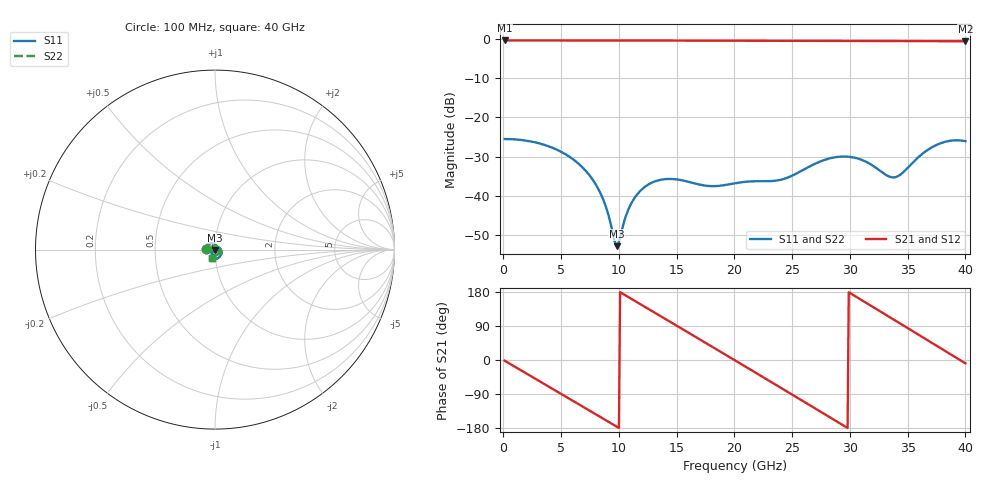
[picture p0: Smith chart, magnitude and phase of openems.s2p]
! thru_s4_L4: 2×thru, L4, 8 mm
! stackup: 4-layer 1.6 mm FR-4
! ports: 1, 2
! openEMS 0.37.0, staircase, fine mesh (dfine 0.0175 mm), 571644 cells
# Hz S RI R 50
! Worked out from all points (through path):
!   400 points, 100 MHz to 40 GHz, reference 50 ohm
!   highest |S21| = -0.48 dB at 100 MHz (marker M1); lowest = -0.7 dB at 40 GHz (marker M2)
!   group delay of S21, straight-line fit = 50.6 ps
!   lowest |S11| = -52.8 dB at 9.8 GHz (marker M3), VSWR 1.00, Z = 50.1 - j0.207 ohm
!   |S11| at or under -10 dB: start of sweep to end of sweep
!   |S22| runs from -52.8 to -25.5 dB; largest |S21 - S12| = 0
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1e8  -0.0528 0.00133  0.9463 -0.0296  0.9463 -0.0296  -0.0528 0.00133
1.8e9  -0.0455 0.0226  0.8007 -0.5048  0.8007 -0.5048  -0.0455 0.0226
3.7e9  -0.0249 0.036  0.381 -0.8662  0.381 -0.8662  -0.0249 0.036
5.2e9  -0.00625 0.0344  -0.0517 -0.9445  -0.0517 -0.9445  -0.00625 0.0344
6.8e9  0.00724 0.0222  -0.4984 -0.8032  -0.4984 -0.8032  0.00724 0.0222
8.5e9  0.00829 0.00566  -0.8365 -0.4388  -0.8365 -0.4388  0.00829 0.00566
9.8e9  0.000997 -0.00207  -0.9414 -0.0714  -0.9414 -0.0714  0.000997 -0.00207
1.13e10  -0.0091 -0.00112  -0.871 0.3631  -0.871 0.3631  -0.0091 -0.00112
1.34e10  -0.0108 0.0115  -0.4648 0.8206  -0.4648 0.8206  -0.0108 0.0115
1.64e10  0.0106 0.0101  0.3938 0.8556  0.3938 0.8556  0.0106 0.0101
1.84e10  0.0108 -0.00777  0.8224 0.4563  0.8224 0.4563  0.0108 -0.00777
2.01e10  -0.00329 -0.0141  0.9388 -0.0305  0.9388 -0.0305  -0.00329 -0.0141
2.18e10  -0.0149 -0.00363  0.7886 -0.5083  0.7886 -0.5083  -0.0149 -0.00363
2.37e10  -0.00705 0.014  0.3591 -0.8657  0.3591 -0.8657  -0.00705 0.014
2.67e10  0.0244 -0.000924  -0.5017 -0.7896  -0.5017 -0.7896  0.0244 -0.000924
2.84e10  0.0176 -0.0247  -0.8375 -0.4144  -0.8375 -0.4144  0.0176 -0.0247
3e10  -0.00546 -0.0308  -0.932 0.0512  -0.932 0.0512  -0.00546 -0.0308
3.16e10  -0.0224 -0.0135  -0.7847 0.5035  -0.7847 0.5035  -0.0224 -0.0135
3.34e10  -0.0117 0.0131  -0.3784 0.8506  -0.3784 0.8506  -0.0117 0.0131
3.63e10  0.0342 -0.00478  0.462 0.8045  0.462 0.8045  0.0342 -0.00478
3.82e10  0.0232 -0.0426  0.8405 0.3881  0.8405 0.3881  0.0232 -0.0426
4e10  -0.0151 -0.0473  0.9138 -0.1415  0.9138 -0.1415  -0.0151 -0.0473
